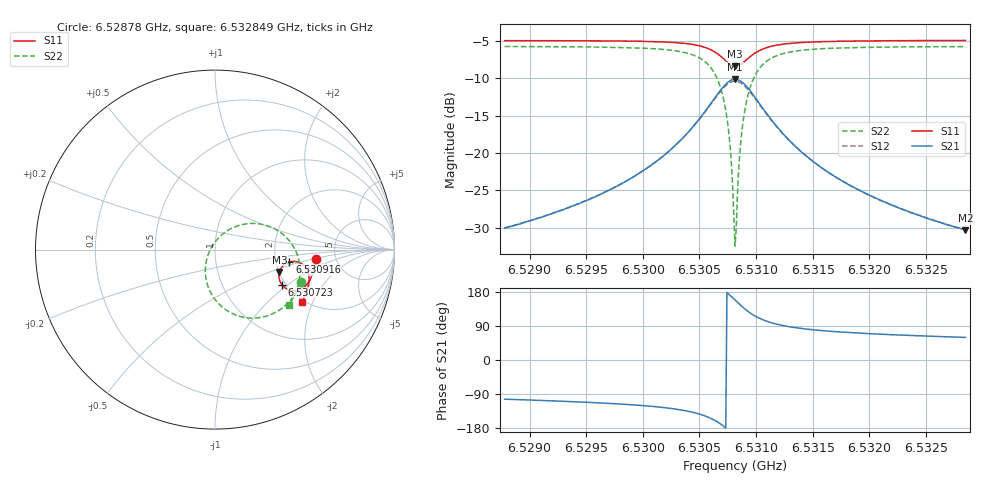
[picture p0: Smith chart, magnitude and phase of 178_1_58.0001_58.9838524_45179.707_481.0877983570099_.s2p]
#  HZ  S  RI  R  50.00
! Rohde & Schwarz Vector Network Analyzer
! Rohde-Schwarz,ZNB20-2Port,1311601062101988,3.16
! Created: UTC 3/21/2024, 12:58:12 AM
! freq[Hz]  re:S11  im:S11  re:S21  im:S21  re:S12  im:S12  re:S22  im:S22
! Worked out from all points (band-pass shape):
!   401 points, 6.52878 GHz to 6.532849 GHz, reference 50 ohm
!   highest |S21| = -10.15 dB at 6.530814 GHz (marker M1); lowest = -30.3 dB at 6.532849 GHz (marker M2)
!   |S21| within 3 dB of the highest: 6.530612 GHz to 6.531018 GHz (406.8 kHz wide, 0.00623 % of centre)
!   lowest |S11| = -8.4 dB at 6.530814 GHz (marker M3), VSWR 2.23, Z = 100 - j29.3 ohm
!   |S11| at or under -10 dB: nowhere
!   |S22| runs from -32.4 to -5.8 dB; largest |S21 - S12| = 0.013
!   S11 on the Smith chart (normalised r, x): 6.52878 GHz: 3.49, -0.52; 6.530723 GHz: 1.90, -0.90; 6.530916 GHz: 2.37, -0.40; 6.532849 GHz: 1.93, -1.66
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6.5287801e9  0.5605 -0.0508  -0.00731 -0.0307  -0.00804 -0.0306  0.4814 -0.1805
6.5294616e9  0.5513 -0.1079  -0.0169 -0.0436  -0.0179 -0.0433  0.4494 -0.2438
6.5301431e9  0.5241 -0.177  -0.0508 -0.0751  -0.0531 -0.0736  0.3659 -0.3324
6.530377e9  0.4974 -0.2075  -0.091 -0.0948  -0.0941 -0.0916  0.2838 -0.3717
6.5305499e9  0.4535 -0.2273  -0.1602 -0.1015  -0.1625 -0.0948  0.1561 -0.3763
6.5306517e9  0.4081 -0.2225  -0.2305 -0.0748  -0.2298 -0.0648  0.0381 -0.318
6.5307229e9  0.3723 -0.1953  -0.2825 -0.0157  -0.2767 -0.00521  -0.0379 -0.2082
6.5307635e9  0.3588 -0.1671  -0.2988 0.038  -0.2894 0.0464  -0.0541 -0.1163
6.5307737e9  0.3572 -0.159  -0.2999 0.053  -0.2899 0.0608  -0.0527 -0.0914
6.5308042e9  0.3573 -0.1332  -0.294 0.0992  -0.2828 0.1041  -0.0339 -0.0169
6.5308144e9  0.3591 -0.1247  -0.289 0.1144  -0.2776 0.1181  -0.0229 0.00672
6.5308246e9  0.362 -0.1166  -0.2825 0.1289  -0.2711 0.1316  -0.00941 0.0291
6.5308347e9  0.3656 -0.1086  -0.2747 0.1425  -0.2633 0.1443  0.00613 0.0499
6.5308551e9  0.3752 -0.0944  -0.2554 0.1668  -0.2449 0.1667  0.0423 0.086
6.5308754e9  0.3871 -0.0828  -0.2326 0.1864  -0.2232 0.1849  0.0831 0.1137
6.5309161e9  0.4143 -0.0689  -0.1833 0.2099  -0.1763 0.2067  0.1692 0.1427
6.5309873e9  0.4579 -0.0681  -0.1069 0.2121  -0.1034 0.209  0.2973 0.1311
6.531089e9  0.4962 -0.0898  -0.0413 0.181  -0.0395 0.1791  0.4028 0.062
6.5312416e9  0.5188 -0.1258  -0.00153 0.1337  -0.00021 0.133  0.4605 -0.0347
6.5314959e9  0.5247 -0.1694  0.0154 0.0876  0.0166 0.087  0.4743 -0.133
6.5321774e9  0.5079 -0.2407  0.0177 0.042  0.0184 0.0417  0.4451 -0.2495
6.5328487e9  0.4831 -0.292  0.0154 0.0263  0.016 0.0262  0.4101 -0.3094
